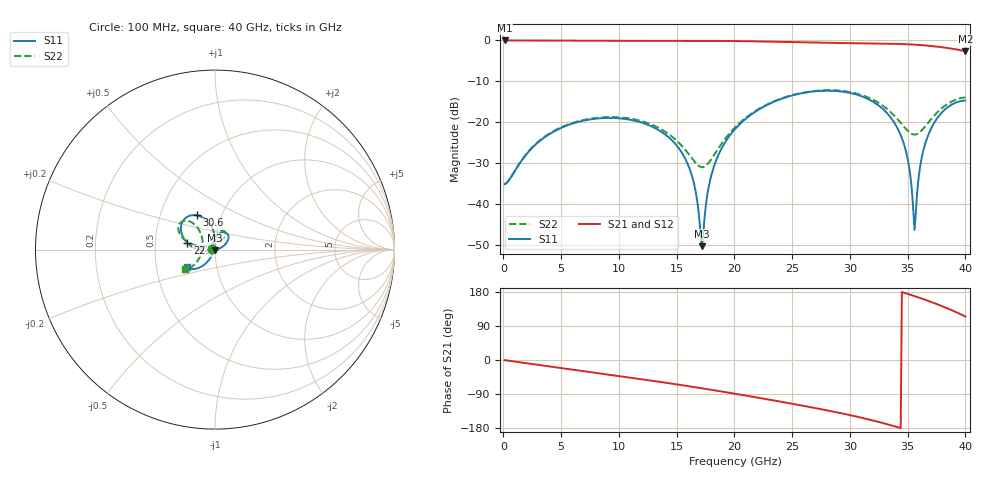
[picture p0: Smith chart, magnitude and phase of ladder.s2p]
! C_s8_ap1200: via ladder as kisi uses it (kisi_si::via_pbm, graded grid, junction model), ports at the via
# Hz S RI R 50
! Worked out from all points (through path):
!   400 points, 100 MHz to 40 GHz, reference 50 ohm
!   highest |S21| = -0.15 dB at 100 MHz (marker M1); lowest = -2.8 dB at 40 GHz (marker M2)
!   group delay of S21, straight-line fit = 15.5 ps
!   lowest |S11| = -50.2 dB at 17.2 GHz (marker M3), VSWR 1.01, Z = 50 - j0.307 ohm
!   |S11| at or under -10 dB: start of sweep to end of sweep
!   |S22| runs from -35.1 to -12.2 dB; largest |S21 - S12| = 0
!   S11 on the Smith chart (normalised r, x): 100 MHz: 0.97, +0.00; 22.7 GHz: 0.73, +0.06; 30.6 GHz: 0.77, +0.31; 40 GHz: 0.72, -0.14
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1e8  -0.0174 0.00202  0.9825 -0.00726  0.9825 -0.00726  -0.0174 0.00202
3.1e9  -0.00279 0.0582  0.9549 -0.2223  0.9549 -0.2223  -0.00549 0.0588
6.8e9  0.0396 0.0951  0.8556 -0.4675  0.8556 -0.4675  0.029 0.1008
1.03e10  0.0722 0.083  0.7056 -0.6683  0.7056 -0.6683  0.0553 0.0987
1.34e10  0.0676 0.0436  0.5295 -0.8154  0.5295 -0.8154  0.0504 0.069
1.61e10  0.0265 0.00703  0.3415 -0.911  0.3415 -0.911  0.0144 0.0371
1.67e10  0.0129 0.000988  0.2954 -0.9267  0.2954 -0.9267  0.00229 0.0311
1.72e10  0.000393 -0.00307  0.256 -0.938  0.256 -0.938  -0.00879 0.0268
1.76e10  -0.0102 -0.00557  0.2238 -0.9458  0.2238 -0.9458  -0.0182 0.0239
1.81e10  -0.0241 -0.00767  0.1828 -0.9538  0.1828 -0.9538  -0.0307 0.021
2.01e10  -0.0836 -0.00287  0.0126 -0.9659  0.0126 -0.9659  -0.0853 0.0191
2.27e10  -0.1537 0.0371  -0.2129 -0.9292  -0.2129 -0.9292  -0.1541 0.0433
2.67e10  -0.1864 0.1418  -0.5332 -0.7591  -0.5332 -0.7591  -0.2045 0.1195
3.06e10  -0.0997 0.1906  -0.7844 -0.4619  -0.7844 -0.4619  -0.1538 0.1599
3.34e10  -0.0147 0.119  -0.8875 -0.1418  -0.8875 -0.1418  -0.087 0.1059
3.49e10  0.00126 0.0413  -0.8818 0.0691  -0.8818 0.0691  -0.0688 0.0429
3.53e10  -0.000958 0.0185  -0.8694 0.128  -0.8694 0.128  -0.0685 0.0237
3.56e10  -0.00464 0.00146  -0.8567 0.1725  -0.8567 0.1725  -0.0697 0.00907
3.6e10  -0.0122 -0.0207  -0.8349 0.2316  -0.8349 0.2316  -0.0734 -0.0103
3.68e10  -0.036 -0.0606  -0.7739 0.347  -0.7739 0.347  -0.0873 -0.0467
3.82e10  -0.0957 -0.1034  -0.6106 0.5246  -0.6106 0.5246  -0.1266 -0.0931
4e10  -0.1554 -0.0953  -0.3044 0.6607  -0.3044 0.6607  -0.168 -0.1074
